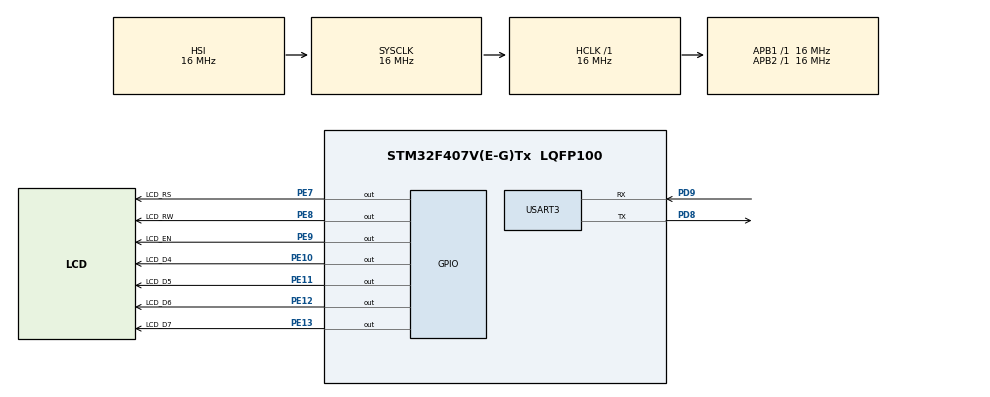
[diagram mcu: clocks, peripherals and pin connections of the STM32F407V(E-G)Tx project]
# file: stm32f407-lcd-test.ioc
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Mcu.Family=STM32F4
Mcu.Name=STM32F407V(E-G)Tx
Mcu.Package=LQFP100
NVIC.PriorityGroup=NVIC_PRIORITYGROUP_4
PA13.Mode=Serial_Wire
PA13.Signal=SYS_JTMS-SWDIO
PA14.Mode=Serial_Wire
PA14.Signal=SYS_JTCK-SWCLK
PD8.Mode=Asynchronous
PD8.Signal=USART3_TX
PD9.Mode=Asynchronous
PD9.Signal=USART3_RX
PE10.GPIO_Label=LCD_D4
PE10.Signal=GPIO_Output
PE11.GPIO_Label=LCD_D5
PE11.Signal=GPIO_Output
PE12.GPIO_Label=LCD_D6
PE12.Signal=GPIO_Output
PE13.GPIO_Label=LCD_D7
PE13.Signal=GPIO_Output
PE7.GPIO_Label=LCD_RS
PE7.Signal=GPIO_Output
PE8.GPIO_Label=LCD_RW
PE8.Signal=GPIO_Output
PE9.GPIO_Label=LCD_EN
PE9.Signal=GPIO_Output
ProjectManager.HeapSize=0x200
ProjectManager.StackSize=0x400
ProjectManager.TargetToolchain=STM32CubeIDE
RCC.AHBFreq_Value=16000000
RCC.APB1Freq_Value=16000000
RCC.APB2Freq_Value=16000000
RCC.CortexFreq_Value=16000000
RCC.HSE_VALUE=25000000
RCC.HSI_VALUE=16000000
RCC.LSE_VALUE=32768
RCC.SYSCLKFreq_VALUE=16000000
RCC.VCOOutputFreq_Value=192000000
USART3.VirtualMode=VM_ASYNC
board=custom

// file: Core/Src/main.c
/* USER CODE BEGIN Header */
/**
  ******************************************************************************
  * @file           : main.c
  * @brief          : SIM800C DTMF diagnostic with interrupt RX
  ******************************************************************************
  */
/* USER CODE END Header */

#include "main.h"

/* USER CODE BEGIN Includes */
#include "lcd.h"
#include "sim800_voice_data.h"
#include <string.h>
#include <stdio.h>
/* USER CODE END Includes */

UART_HandleTypeDef huart3;

/* USER CODE BEGIN PV */

static uint8_t rxByteIT;

static volatile uint16_t rxIndex = 0U;
static volatile uint32_t oreCount = 0U;

static char rxBuffer[512];
static char lcdLine2[17];

/* VOICE_UPLOAD_PATCH_V1 */
static uint32_t voiceOffset = 0U;
static uint32_t voiceChunkSize = 0U;
static char fsCommand[96];

static uint8_t state = 0U;

static uint32_t commandTime = 0U;

/* USER CODE END PV */

void SystemClock_Config(void);
static void MX_GPIO_Init(void);
static void MX_USART3_UART_Init(void);

/* USER CODE BEGIN PFP */

static void LCD_Show(const char *line1, const char *line2);
static void RX_ResetBuffer(void);
static uint16_t RX_GetSnapshot(char *dest, uint16_t size);
static uint8_t Voice_StartNextWrite(void);

/* USER CODE END PFP */

/* USER CODE BEGIN 0 */

static void LCD_Show(const char *line1, const char *line2)
{
    LCD_Clear();

    LCD_SetCursor(0, 0);
    LCD_Print((char *)line1);

    LCD_SetCursor(0, 1);
    LCD_Print((char *)line2);
}

static void RX_ResetBuffer(void)
{
    __disable_irq();

    rxIndex = 0U;
    memset(rxBuffer, 0, sizeof(rxBuffer));

    __enable_irq();
}

static uint16_t RX_GetSnapshot(char *dest, uint16_t size)
{
    uint16_t count;

    __disable_irq();

    count = rxIndex;

    if (count >= size)
    {
        count = size - 1U;
    }

    memcpy(dest, rxBuffer, count);
    dest[count] = '\0';

    __enable_irq();

    return count;
}

static uint8_t Voice_StartNextWrite(void)
{
    uint32_t remaining;
    uint8_t mode;
    int commandLength;

    if (voiceOffset >= SIM800_VOICE_DATA_LEN)
    {
        return 0U;
    }

    remaining =
        SIM800_VOICE_DATA_LEN - voiceOffset;

    if (remaining > 10240U)
    {
        voiceChunkSize = 10240U;
    }
    else
    {
        voiceChunkSize = remaining;
    }

    /*
     * First chunk: write from beginning.
     * Following chunks: append to end.
     */
    mode = (voiceOffset == 0U) ? 0U : 1U;

    commandLength = snprintf(
        fsCommand,
        sizeof(fsCommand),
        "AT+FSWRITE=C:\\voice.wav,%u,%lu,10\r",
        (unsigned int)mode,
        (unsigned long)voiceChunkSize
    );

    if ((commandLength <= 0) ||
        ((uint32_t)commandLength >= sizeof(fsCommand)))
    {
        return 0U;
    }

    snprintf(
        lcdLine2,
        sizeof(lcdLine2),
        "%lu/%lu",
        (unsigned long)voiceOffset,
        (unsigned long)SIM800_VOICE_DATA_LEN
    );

    LCD_Show(
        "WRITE VOICE",
        lcdLine2
    );

    RX_ResetBuffer();

    if (HAL_UART_Transmit(
            &huart3,
            (uint8_t *)fsCommand,
            (uint16_t)commandLength,
            1000U
        ) != HAL_OK)
    {
        return 0U;
    }

    commandTime = HAL_GetTick();
    state = 22U;

    return 1U;
}

void HAL_UART_RxCpltCallback(UART_HandleTypeDef *huart)
{
    if (huart->Instance == USART3)
    {
        if (rxIndex < (sizeof(rxBuffer) - 1U))
        {
            rxBuffer[rxIndex] = (char)rxByteIT;
            rxIndex++;

            rxBuffer[rxIndex] = '\0';
        }

        HAL_UART_Receive_IT(
            &huart3,
            &rxByteIT,
            1U
        );
    }
}

void HAL_UART_ErrorCallback(UART_HandleTypeDef *huart)
{
    if (huart->Instance == USART3)
    {
        if (__HAL_UART_GET_FLAG(
                &huart3,
                UART_FLAG_ORE
            ) != RESET)
        {
            oreCount++;

            __HAL_UART_CLEAR_OREFLAG(
                &huart3
            );
        }

        HAL_UART_Receive_IT(
            &huart3,
            &rxByteIT,
            1U
        );
    }
}

__weak void USART3_IRQHandler(void)
{
    HAL_UART_IRQHandler(&huart3);
}

/* USER CODE END 0 */

int main(void)
{
    char snapshot[512];
    char *position;

    int callId;
    int direction;
    int callStatus;
    int mode;
    int multiparty;

    char dtmfKey;
    char driveLetter;

    char smsStorage[8];
    int smsIndex;
    char smsCommand[32];

    uint8_t smsPending = 0U;
    int pendingSmsIndex = -1;

    char memDrive;
    unsigned long freeBytes;

    HAL_Init();

    SystemClock_Config();

    MX_GPIO_Init();
    MX_USART3_UART_Init();

    /* USER CODE BEGIN 2 */

    LCD_Init();

    HAL_NVIC_SetPriority(
        USART3_IRQn,
        0,
        0
    );

    HAL_NVIC_EnableIRQ(
        USART3_IRQn
    );

    if (HAL_UART_Receive_IT(
            &huart3,
            &rxByteIT,
            1U
        ) != HAL_OK)
    {
        LCD_Show(
            "RX IRQ ERROR",
            "START FAILED"
        );

        while (1)
        {
        }
    }

    LCD_Show(
        "DTMF TEST",
        "WAIT 3 SEC"
    );

    HAL_Delay(3000U);

    /*
     * Disable echo.
     */
    RX_ResetBuffer();

    HAL_UART_Transmit(
        &huart3,
        (uint8_t *)"ATE0\r",
        5U,
        1000U
    );

    HAL_Delay(1000U);

    /*
     * Test CMEDPLAY support.
     */
    RX_ResetBuffer();

    LCD_Show(
        "CMEDPLAY TEST",
        "SENDING..."
    );

    if (HAL_UART_Transmit(
            &huart3,
            (uint8_t *)"AT+CMEDPLAY=?\r",
            sizeof("AT+CMEDPLAY=?\r") - 1U,
            1000U
        ) != HAL_OK)
    {
        LCD_Show(
            "CMEDPLAY",
            "TX ERROR"
        );

        while (1)
        {
        }
    }

    commandTime = HAL_GetTick();
    state = 0U;

    /* USER CODE END 2 */

    while (1)
    {
        /* USER CODE BEGIN WHILE */

        RX_GetSnapshot(
            snapshot,
            sizeof(snapshot)
        );

        /*
         * Global SMS URC capture.
         *
         * The SMS event is captured independently of the
         * current call/playback state. Reading is deferred
         * until the AT command channel is safe to use.
         */
        if (smsPending == 0U)
        {
            char *smsPosition;

            smsPosition = strstr(
                snapshot,
                "+CMTI:"
            );

            if (smsPosition != NULL)
            {
                int detectedIndex = -1;

                memset(
                    smsStorage,
                    0,
                    sizeof(smsStorage)
                );

                if (sscanf(
                        smsPosition,
                        "+CMTI: \"%7[^\"]\",%d",
                        smsStorage,
                        &detectedIndex
                    ) == 2)
                {
                    pendingSmsIndex = detectedIndex;
                    smsPending = 1U;

                    if (state == 32U)
                    {
                        LCD_Show(
                            "SMS QUEUED",
                            "VOICE PLAYING"
                        );
                    }
                }
            }
        }

        /*
         * If the call is active and no modem command is
         * currently in progress, process a queued SMS.
         */
        if ((smsPending != 0U) &&
            (state == 4U))
        {
            smsIndex = pendingSmsIndex;
            smsPending = 0U;
            pendingSmsIndex = -1;

            RX_ResetBuffer();

            LCD_Show(
                "SMS RECEIVED",
                "READING..."
            );

            if (HAL_UART_Transmit(
                    &huart3,
                    (uint8_t *)"AT+CMGF=1\r",
                    sizeof("AT+CMGF=1\r") - 1U,
                    1000U
                ) != HAL_OK)
            {
                LCD_Show(
                    "CMGF",
                    "TX ERROR"
                );

                state = 99U;
            }
            else
            {
                commandTime = HAL_GetTick();
                state = 35U;
            }

            HAL_Delay(10U);
            continue;
        }

        /*
         * State 0:
         * Wait for DDET response.
         */
        if (state == 0U)
        {
        	if (strstr(snapshot, "OK") != NULL)
        	{
        	    RX_ResetBuffer();

        	    LCD_Show(
        	        "GET LOCAL DRIVE",
        	        "FSDRIVE..."
        	    );

        	    if (HAL_UART_Transmit(
        	            &huart3,
        	            (uint8_t *)"AT+FSDRIVE=0\r",
        	            sizeof("AT+FSDRIVE=0\r") - 1U,
        	            1000U
        	        ) != HAL_OK)
        	    {
        	        LCD_Show(
        	            "FSDRIVE",
        	            "TX ERROR"
        	        );

        	        state = 99U;
        	    }
        	    else
        	    {
        	        commandTime = HAL_GetTick();
        	        state = 10U;
        	    }
        	}
            else if (strstr(snapshot, "ERROR") != NULL)
            {
                LCD_Show(
                    "CMEDPLAY",
                    "UNSUPPORTED"
                );

                state = 99U;
            }

            else if ((HAL_GetTick() - commandTime) >= 3000U)
            {
                LCD_Show(
                    "CMEDPLAY",
                    "TIMEOUT"
                );

                state = 99U;
            }
        }

        else if (state == 10U)
        {
            position = strstr(
                snapshot,
                "+FSDRIVE:"
            );

            if (position != NULL)
            {
                driveLetter = '\0';

                if (sscanf(
                        position,
                        "+FSDRIVE: %c",
                        &driveLetter
                    ) == 1)
                {
                    snprintf(
                        lcdLine2,
                        sizeof(lcdLine2),
                        "DRIVE: %c",
                        driveLetter
                    );

                    LCD_Show(
                        "LOCAL STORAGE",
                        lcdLine2
                    );

                    HAL_Delay(1000U);

                    RX_ResetBuffer();

                    LCD_Show(
                        "CHECK MEMORY",
                        "FSMEM..."
                    );

                    if (HAL_UART_Transmit(
                            &huart3,
                            (uint8_t *)"AT+FSMEM\r",
                            sizeof("AT+FSMEM\r") - 1U,
                            1000U
                        ) != HAL_OK)
                    {
                        LCD_Show(
                            "FSMEM",
                            "TX ERROR"
                        );

                        state = 99U;
                    }
                    else
                    {
                        commandTime = HAL_GetTick();
                        state = 11U;
                    }
                }
            }
            else if (strstr(snapshot, "ERROR") != NULL)
            {
                LCD_Show(
                    "FSDRIVE",
                    "ERROR"
                );

                state = 99U;
            }
            else if ((HAL_GetTick() - commandTime) >= 3000U)
            {
                LCD_Show(
                    "FSDRIVE",
                    "TIMEOUT"
                );

                state = 99U;
            }
        }

        else if (state == 11U)
        {
            position = strstr(
                snapshot,
                "+FSMEM:"
            );

            if (position != NULL)
            {
                memDrive = '\0';
                freeBytes = 0UL;

                if (sscanf(
                        position,
                        "+FSMEM: %c:%lubytes",
                        &memDrive,
                        &freeBytes
                    ) == 2)
                {
                    snprintf(
                        lcdLine2,
                        sizeof(lcdLine2),
                        "%lu bytes",
                        freeBytes
                    );

                    LCD_Show(
                        "FREE MEMORY",
                        lcdLine2
                    );

                    HAL_Delay(1000U);

                    RX_ResetBuffer();

                    LCD_Show(
                        "LIST FILES",
                        "FSLS..."
                    );

                    if (HAL_UART_Transmit(
                            &huart3,
                            (uint8_t *)"AT+FSLS=C:\\\r",
                            sizeof("AT+FSLS=C:\\\r") - 1U,
                            1000U
                        ) != HAL_OK)
                    {
                        LCD_Show(
                            "FSLS",
                            "TX ERROR"
                        );

                        state = 99U;
                    }
                    else
                    {
                        commandTime = HAL_GetTick();
                        state = 13U;
                    }
                }
            }
            else if (strstr(snapshot, "ERROR") != NULL)
            {
                LCD_Show(
                    "FSMEM",
                    "ERROR"
                );

                state = 99U;
            }
            else if ((HAL_GetTick() - commandTime) >= 3000U)
            {
                LCD_Show(
                    "FSMEM",
                    "TIMEOUT"
                );

                state = 99U;
            }
        }

        else if (state == 13U)
        {
            if (strstr(snapshot, "test.wav") != NULL)
            {
                RX_ResetBuffer();

                LCD_Show(
                    "WRITE TEST",
                    "WAIT PROMPT"
                );

                if (HAL_UART_Transmit(
                        &huart3,
                        (uint8_t *)"AT+FSWRITE=C:\\test.wav,0,5,10\r",
                        sizeof("AT+FSWRITE=C:\\test.wav,0,5,10\r") - 1U,
                        1000U
                    ) != HAL_OK)
                {
                    LCD_Show(
                        "FSWRITE",
                        "TX ERROR"
                    );

                    state = 99U;
                }
                else
                {
                    commandTime = HAL_GetTick();
                    state = 14U;
                }
            }
            else if (strstr(snapshot, "ERROR") != NULL)
            {
                LCD_Show(
                    "FSLS",
                    "ERROR"
                );

                state = 99U;
            }
            else if ((HAL_GetTick() - commandTime) >= 3000U)
            {
                LCD_Show(
                    "FILE NOT FOUND",
                    "test.wav"
                );

                state = 99U;
            }
        }

        else if (state == 14U)
        {
            if (strchr(snapshot, '>') != NULL)
            {
                RX_ResetBuffer();

                LCD_Show(
                    "SEND DATA",
                    "HELLO"
                );

                if (HAL_UART_Transmit(
                        &huart3,
                        (uint8_t *)"HELLO",
                        5U,
                        1000U
                    ) != HAL_OK)
                {
                    LCD_Show(
                        "DATA TX",
                        "ERROR"
                    );

                    state = 99U;
                }
                else
                {
                    commandTime = HAL_GetTick();
                    state = 15U;
                }
            }
            else if (strstr(snapshot, "ERROR") != NULL)
            {
                LCD_Show(
                    "FSWRITE",
                    "ERROR"
                );

                state = 99U;
            }
            else if ((HAL_GetTick() - commandTime) >= 3000U)
            {
                LCD_Show(
                    "FSWRITE",
                    "NO PROMPT"
                );

                state = 99U;
            }
        }

        else if (state == 15U)
        {
            if (strstr(snapshot, "OK") != NULL)
            {
                LCD_Show(
                    "WRITE OK",
                    "5 BYTES SAVED"
                );

                HAL_Delay(1000U);

                RX_ResetBuffer();

                LCD_Show(
                    "CHECK FILE SIZE",
                    "FSFLSIZE..."
                );

                if (HAL_UART_Transmit(
                        &huart3,
                        (uint8_t *)"AT+FSFLSIZE=C:\\test.wav\r",
                        sizeof("AT+FSFLSIZE=C:\\test.wav\r") - 1U,
                        1000U
                    ) != HAL_OK)
                {
                    LCD_Show(
                        "FSFLSIZE",
                        "TX ERROR"
                    );

                    state = 99U;
                }
                else
                {
                    commandTime = HAL_GetTick();
                    state = 16U;
                }
            }
            else if (strstr(snapshot, "ERROR") != NULL)
            {
                LCD_Show(
                    "WRITE",
                    "ERROR"
                );

                state = 99U;
            }
            else if ((HAL_GetTick() - commandTime) >= 12000U)
            {
                LCD_Show(
                    "WRITE",
                    "TIMEOUT"
                );

                state = 99U;
            }
        }

        else if (state == 16U)
        {
            position = strstr(
                snapshot,
                "+FSFLSIZE:"
            );

            if (position != NULL)
            {
                unsigned long fileSize = 0UL;

                if (sscanf(
                        position,
                        "+FSFLSIZE: %lu",
                        &fileSize
                    ) == 1)
                {
                    snprintf(
                        lcdLine2,
                        sizeof(lcdLine2),
                        "%lu bytes",
                        fileSize
                    );

                    LCD_Show(
                        "FILE SIZE",
                        lcdLine2
                    );

                    RX_ResetBuffer();

                    LCD_Show(
                        "VOICE UPLOAD",
                        "DELETE OLD..."
                    );

                    if (HAL_UART_Transmit(
                            &huart3,
                            (uint8_t *)"AT+FSDEL=C:\\voice.wav\r",
                            sizeof("AT+FSDEL=C:\\voice.wav\r") - 1U,
                            1000U
                        ) != HAL_OK)
                    {
                        LCD_Show(
                            "VOICE DELETE",
                            "TX ERROR"
                        );

                        state = 99U;
                    }
                    else
                    {
                        commandTime = HAL_GetTick();
                        state = 20U;
                    }
                }
            }
            else if (strstr(snapshot, "ERROR") != NULL)
            {
                LCD_Show(
                    "FSFLSIZE",
                    "ERROR"
                );

                state = 99U;
            }
            else if ((HAL_GetTick() - commandTime) >= 3000U)
            {
                LCD_Show(
                    "FSFLSIZE",
                    "TIMEOUT"
                );

                state = 99U;
            }
        }

        /*
         * State 20:
         * Delete old voice.wav.
         *
         * ERROR is allowed here because the file may not
         * exist yet.
         */
        else if (state == 20U)
        {
            if ((strstr(snapshot, "OK") != NULL) ||
                (strstr(snapshot, "ERROR") != NULL))
            {
                RX_ResetBuffer();

                LCD_Show(
                    "VOICE UPLOAD",
                    "CREATE FILE"
                );

                if (HAL_UART_Transmit(
                        &huart3,
                        (uint8_t *)"AT+FSCREATE=C:\\voice.wav\r",
                        sizeof("AT+FSCREATE=C:\\voice.wav\r") - 1U,
                        1000U
                    ) != HAL_OK)
                {
                    LCD_Show(
                        "VOICE CREATE",
                        "TX ERROR"
                    );

                    state = 99U;
                }
                else
                {
                    commandTime = HAL_GetTick();
                    state = 21U;
                }
            }
            else if ((HAL_GetTick() - commandTime) >= 3000U)
            {
                /*
                 * If delete gives no response, try create anyway.
                 */
                RX_ResetBuffer();

                if (HAL_UART_Transmit(
                        &huart3,
                        (uint8_t *)"AT+FSCREATE=C:\\voice.wav\r",
                        sizeof("AT+FSCREATE=C:\\voice.wav\r") - 1U,
                        1000U
                    ) != HAL_OK)
                {
                    LCD_Show(
                        "VOICE CREATE",
                        "TX ERROR"
                    );

                    state = 99U;
                }
                else
                {
                    commandTime = HAL_GetTick();
                    state = 21U;
                }
            }
        }

        /*
         * State 21:
         * Wait until voice.wav is created.
         */
        else if (state == 21U)
        {
            if (strstr(snapshot, "OK") != NULL)
            {
                voiceOffset = 0U;

                if (Voice_StartNextWrite() == 0U)
                {
                    LCD_Show(
                        "VOICE WRITE",
                        "START ERROR"
                    );

                    state = 99U;
                }
            }
            else if (strstr(snapshot, "ERROR") != NULL)
            {
                LCD_Show(
                    "VOICE CREATE",
                    "ERROR"
                );

                state = 99U;
            }
            else if ((HAL_GetTick() - commandTime) >= 3000U)
            {
                LCD_Show(
                    "VOICE CREATE",
                    "TIMEOUT"
                );

                state = 99U;
            }
        }

        /*
         * State 22:
         * Wait for FSWRITE '>' prompt.
         */
        else if (state == 22U)
        {
            if (strchr(snapshot, '>') != NULL)
            {
                RX_ResetBuffer();

                if (HAL_UART_Transmit(
                        &huart3,
                        (uint8_t *)&sim800_voice_data[voiceOffset],
                        (uint16_t)voiceChunkSize,
                        15000U
                    ) != HAL_OK)
                {
                    LCD_Show(
                        "VOICE DATA",
                        "TX ERROR"
                    );

                    state = 99U;
                }
                else
                {
                    commandTime = HAL_GetTick();
                    state = 23U;
                }
            }
            else if (strstr(snapshot, "ERROR") != NULL)
            {
                LCD_Show(
                    "FSWRITE",
                    "ERROR"
                );

                state = 99U;
            }
            else if ((HAL_GetTick() - commandTime) >= 3000U)
            {
                LCD_Show(
                    "FSWRITE",
                    "NO PROMPT"
                );

                state = 99U;
            }
        }

        /*
         * State 23:
         * Wait for one binary chunk to be committed.
         */
        else if (state == 23U)
        {
            if (strstr(snapshot, "OK") != NULL)
            {
                voiceOffset += voiceChunkSize;

                if (voiceOffset < SIM800_VOICE_DATA_LEN)
                {
                    if (Voice_StartNextWrite() == 0U)
                    {
                        LCD_Show(
                            "VOICE WRITE",
                            "NEXT ERROR"
                        );

                        state = 99U;
                    }
                }
                else
                {
                    RX_ResetBuffer();

                    LCD_Show(
                        "VERIFY VOICE",
                        "FSFLSIZE..."
                    );

                    if (HAL_UART_Transmit(
                            &huart3,
                            (uint8_t *)"AT+FSFLSIZE=C:\\voice.wav\r",
                            sizeof("AT+FSFLSIZE=C:\\voice.wav\r") - 1U,
                            1000U
                        ) != HAL_OK)
                    {
                        LCD_Show(
                            "VOICE SIZE",
                            "TX ERROR"
                        );

                        state = 99U;
                    }
                    else
                    {
                        commandTime = HAL_GetTick();
                        state = 24U;
                    }
                }
            }
            else if (strstr(snapshot, "ERROR") != NULL)
            {
                LCD_Show(
                    "VOICE WRITE",
                    "ERROR"
                );

                state = 99U;
            }
            else if ((HAL_GetTick() - commandTime) >= 12000U)
            {
                LCD_Show(
                    "VOICE WRITE",
                    "TIMEOUT"
                );

                state = 99U;
            }
        }

        /*
         * State 24:
         * Verify uploaded binary file size.
         */
        else if (state == 24U)
        {
            position = strstr(
                snapshot,
                "+FSFLSIZE:"
            );

            if (position != NULL)
            {
                unsigned long fileSize = 0UL;

                if (sscanf(
                        position,
                        "+FSFLSIZE: %lu",
                        &fileSize
                    ) == 1)
                {
                    snprintf(
                        lcdLine2,
                        sizeof(lcdLine2),
                        "%lu bytes",
                        fileSize
                    );

                    if (fileSize ==
                        (unsigned long)SIM800_VOICE_DATA_LEN)
                    {
                        LCD_Show(
                            "SMS URC SETUP",
                            "CNMI..."
                        );

                        RX_ResetBuffer();

                        if (HAL_UART_Transmit(
                                &huart3,
                                (uint8_t *)"AT+CNMI=2,1,0,0,0\r",
                                sizeof("AT+CNMI=2,1,0,0,0\r") - 1U,
                                1000U
                            ) != HAL_OK)
                        {
                            LCD_Show(
                                "CNMI",
                                "TX ERROR"
                            );

                            state = 99U;
                        }
                        else
                        {
                            commandTime = HAL_GetTick();
                            state = 34U;
                        }
                    }
                    else
                    {
                        LCD_Show(
                            "SIZE MISMATCH",
                            lcdLine2
                        );
                    }

                }
            }
            else if (strstr(snapshot, "ERROR") != NULL)
            {
                LCD_Show(
                    "VOICE SIZE",
                    "ERROR"
                );

                state = 99U;
            }
            else if ((HAL_GetTick() - commandTime) >= 3000U)
            {
                LCD_Show(
                    "VOICE SIZE",
                    "TIMEOUT"
                );

                state = 99U;
            }
        }

        else if (state == 12U)
        {
            if (strstr(snapshot, "OK") != NULL)
            {
                LCD_Show(
                    "FILE CREATED",
                    "C:\\test.wav"
                );

                state = 99U;
            }
            else if (strstr(snapshot, "ERROR") != NULL)
            {
                LCD_Show(
                    "FSCREATE",
                    "ERROR"
                );

                state = 99U;
            }
            else if ((HAL_GetTick() - commandTime) >= 3000U)
            {
                LCD_Show(
                    "FSCREATE",
                    "TIMEOUT"
                );

                state = 99U;
            }
        }
        /*
         * State 34:
         * Enable SMS new-message URCs.
         */
        else if (state == 34U)
        {
            if (strstr(snapshot, "OK") != NULL)
            {
                RX_ResetBuffer();

                LCD_Show(
                    "SMS URC READY",
                    "WAITING CALL"
                );

                state = 1U;
            }
            else if (strstr(snapshot, "ERROR") != NULL)
            {
                LCD_Show(
                    "CNMI",
                    "ERROR"
                );

                state = 99U;
            }
            else if ((HAL_GetTick() - commandTime) >= 3000U)
            {
                LCD_Show(
                    "CNMI",
                    "TIMEOUT"
                );

                state = 99U;
            }
        }

        /*
                * State 1:
                * Wait for RING.
                */
        else if (state == 1U)
        {
            if (strstr(snapshot, "RING") != NULL)
            {
                RX_ResetBuffer();

                LCD_Show(
                    "RING DETECTED",
                    "SENDING ATA"
                );

                if (HAL_UART_Transmit(
                        &huart3,
                        (uint8_t *)"ATA\r",
                        4U,
                        1000U
                    ) != HAL_OK)
                {
                    LCD_Show(
                        "ATA TX ERROR",
                        "UART FAILED"
                    );

                    state = 99U;
                }
                else
                {
                    commandTime = HAL_GetTick();
                    state = 2U;

                    LCD_Show(
                        "ATA SENT",
                        "WAIT 2 SEC"
                    );
                }
            }
        }

        /*
         * State 2:
         * Wait 2 seconds after ATA, then query CLCC.
         */
        else if (state == 2U)
        {
            if ((HAL_GetTick() - commandTime) >= 2000U)
            {
                RX_ResetBuffer();

                if (HAL_UART_Transmit(
                        &huart3,
                        (uint8_t *)"AT+CLCC\r",
                        8U,
                        1000U
                    ) != HAL_OK)
                {
                    LCD_Show(
                        "CLCC TX ERROR",
                        "UART FAILED"
                    );

                    state = 99U;
                }
                else
                {
                    commandTime = HAL_GetTick();
                    state = 3U;

                    LCD_Show(
                        "CLCC SENT",
                        "WAIT ACTIVE"
                    );
                }
            }
        }

        /*
         * State 3:
         * Confirm active call.
         */
        else if (state == 3U)
        {
            position = strstr(
                snapshot,
                "+CLCC:"
            );

            if (position != NULL)
            {
                if (sscanf(
                        position,
                        "+CLCC: %d,%d,%d,%d,%d",
                        &callId,
                        &direction,
                        &callStatus,
                        &mode,
                        &multiparty
                    ) >= 5)
                {
                    if (callStatus == 0)
                    {
                        RX_ResetBuffer();

                        /* DTMF_PLAYBACK_PATCH_V1 */

                        LCD_Show(
                            "CALL ACTIVE",
                            "ENABLE DTMF"
                        );

                        RX_ResetBuffer();

                        if (HAL_UART_Transmit(
                                &huart3,
                                (uint8_t *)"AT+DDET=1,0,0\r",
                                sizeof("AT+DDET=1,0,0\r") - 1U,
                                1000U
                            ) != HAL_OK)
                        {
                            LCD_Show(
                                "DDET",
                                "TX ERROR"
                            );

                            state = 99U;
                        }
                        else
                        {
                            commandTime = HAL_GetTick();
                            state = 33U;
                        }
                    }
                    else
                    {
                        snprintf(
                            lcdLine2,
                            sizeof(lcdLine2),
                            "STATE:%d",
                            callStatus
                        );

                        LCD_Show(
                            "CALL NOT ACTIVE",
                            lcdLine2
                        );
                    }
                }
            }
            else if ((HAL_GetTick() - commandTime) >= 3000U)
            {
                LCD_Show(
                    "CLCC TIMEOUT",
                    "NO CALL DATA"
                );

                state = 99U;
            }
        }

        /*
         * State 4:
         * Wait for +DTMF URC.
         */

        /*
         * State 33:
         * Wait for DTMF detector enable confirmation.
         */
        else if (state == 33U)
        {
            if (strstr(snapshot, "OK") != NULL)
            {
                RX_ResetBuffer();

                LCD_Show(
                    "WAIT DTMF",
                    "PRESS 1"
                );

                state = 4U;
            }
            else if (strstr(snapshot, "ERROR") != NULL)
            {
                LCD_Show(
                    "DDET",
                    "ERROR"
                );

                state = 99U;
            }
            else if ((HAL_GetTick() - commandTime) >= 3000U)
            {
                LCD_Show(
                    "DDET",
                    "TIMEOUT"
                );

                state = 99U;
            }
        }

        /*
         * State 35:
         * Enable SMS text mode, then read the message.
         */
        else if (state == 35U)
        {
            if (strstr(snapshot, "OK") != NULL)
            {
                int commandLength;

                RX_ResetBuffer();

                commandLength = snprintf(
                    smsCommand,
                    sizeof(smsCommand),
                    "AT+CMGR=%d\r",
                    smsIndex
                );

                LCD_Show(
                    "READ SMS",
                    "CMGR..."
                );

                if ((commandLength <= 0) ||
                    (HAL_UART_Transmit(
                        &huart3,
                        (uint8_t *)smsCommand,
                        (uint16_t)commandLength,
                        1000U
                    ) != HAL_OK))
                {
                    LCD_Show(
                        "CMGR",
                        "TX ERROR"
                    );

                    state = 99U;
                }
                else
                {
                    commandTime = HAL_GetTick();
                    state = 36U;
                }
            }
            else if (strstr(snapshot, "ERROR") != NULL)
            {
                LCD_Show(
                    "CMGF",
                    "ERROR"
                );

                state = 99U;
            }
            else if ((HAL_GetTick() - commandTime) >= 3000U)
            {
                LCD_Show(
                    "CMGF",
                    "TIMEOUT"
                );

                state = 99U;
            }
        }

        /*
         * State 36:
         * Wait for SMS contents from AT+CMGR.
         */
        else if (state == 36U)
        {
            position = strstr(
                snapshot,
                "+CMGR:"
            );

            if (position != NULL)
            {
                char *body;
                char *end;
                char smsText[17];

                body = strstr(position, "\r\n");

                if (body != NULL)
                {
                    body += 2;

                    end = strstr(body, "\r\n");

                    if (end != NULL)
                    {
                        size_t length =
                            (size_t)(end - body);

                        if (length > 16U)
                        {
                            length = 16U;
                        }

                        memset(
                            smsText,
                            0,
                            sizeof(smsText)
                        );

                        memcpy(
                            smsText,
                            body,
                            length
                        );

                        LCD_Show(
                            "SMS READ",
                            smsText
                        );

                        RX_ResetBuffer();

                        state = 4U;
                    }
                }
            }

            if (strstr(snapshot, "NO CARRIER") != NULL)
            {
                RX_ResetBuffer();

                LCD_Show(
                    "CALL ENDED",
                    "WAITING CALL"
                );

                state = 1U;
            }
            else if (strstr(snapshot, "ERROR") != NULL)
            {
                LCD_Show(
                    "CMGR",
                    "ERROR"
                );

                state = 99U;
            }
            else if ((HAL_GetTick() - commandTime) >= 5000U)
            {
                LCD_Show(
                    "CMGR",
                    "TIMEOUT"
                );

                state = 99U;
            }
        }

        /*
         * State 30:
         * Wait for DTAM=1 confirmation.
         */
        else if (state == 30U)
        {
            if (strstr(snapshot, "OK") != NULL)
            {
                RX_ResetBuffer();

                LCD_Show(
                    "PLAY VOICE",
                    "CMEDPLAY..."
                );

                if (HAL_UART_Transmit(
                        &huart3,
                        (uint8_t *)"AT+CMEDPLAY=1,C:\\voice.wav,0,100\r",
                        sizeof("AT+CMEDPLAY=1,C:\\voice.wav,0,100\r") - 1U,
                        1000U
                    ) != HAL_OK)
                {
                    LCD_Show(
                        "CMEDPLAY",
                        "TX ERROR"
                    );

                    state = 99U;
                }
                else
                {
                    commandTime = HAL_GetTick();
                    state = 31U;
                }
            }
            else if (strstr(snapshot, "ERROR") != NULL)
            {
                LCD_Show(
                    "DTAM",
                    "ERROR"
                );

                state = 99U;
            }
            else if ((HAL_GetTick() - commandTime) >= 3000U)
            {
                LCD_Show(
                    "DTAM",
                    "TIMEOUT"
                );

                state = 99U;
            }
        }

        /*
         * State 31:
         * Wait for playback command response.
         */
        else if (state == 31U)
        {
            if (strstr(snapshot, "OK") != NULL)
            {
                RX_ResetBuffer();

                LCD_Show(
                    "VOICE PLAYING",
                    "REMOTE"
                );

                commandTime = HAL_GetTick();
                state = 32U;
            }
            else if (strstr(snapshot, "+CME ERROR") != NULL ||
                     strstr(snapshot, "ERROR") != NULL)
            {
                LCD_Show(
                    "CMEDPLAY",
                    "ERROR"
                );

                state = 99U;
            }
            else if ((HAL_GetTick() - commandTime) >= 3000U)
            {
                LCD_Show(
                    "CMEDPLAY",
                    "TIMEOUT"
                );

                state = 99U;
            }
        }

        /*
         * State 32:
         * Wait until playback finishes or call ends.
         */
        else if (state == 32U)
        {
            if (strstr(snapshot, "+CMEDPLAY: 0") != NULL)
            {
                LCD_Show(
                    "PLAY FINISHED",
                    "CALL ACTIVE"
                );

                RX_ResetBuffer();
                state = 4U;
            }
            else if (strstr(snapshot, "NO CARRIER") != NULL)
            {
                LCD_Show(
                    "CALL ENDED",
                    "WAITING CALL"
                );

                RX_ResetBuffer();
                state = 1U;
            }
        }

        else if (state == 4U)
        {
            position = strstr(
                snapshot,
                "+DTMF:"
            );

            if (position != NULL)
            {
                dtmfKey = '\0';

                if (sscanf(
                        position,
                        "+DTMF: %c",
                        &dtmfKey
                    ) == 1)
                {
                    RX_ResetBuffer();

                    if (dtmfKey == '1')
                    {
                        LCD_Show(
                            "DTMF 1",
                            "PLAY VOICE"
                        );

                        if (HAL_UART_Transmit(
                                &huart3,
                                (uint8_t *)"AT+DTAM=1\r",
                                sizeof("AT+DTAM=1\r") - 1U,
                                1000U
                            ) != HAL_OK)
                        {
                            LCD_Show(
                                "DTAM",
                                "TX ERROR"
                            );

                            state = 99U;
                        }
                        else
                        {
                            commandTime = HAL_GetTick();
                            state = 30U;
                        }
                    }
                    else
                    {
                        snprintf(
                            lcdLine2,
                            sizeof(lcdLine2),
                            "KEY: %c",
                            dtmfKey
                        );

                        LCD_Show(
                            "DTMF RECEIVED",
                            lcdLine2
                        );
                    }
                }
            }

            if (strstr(snapshot, "NO CARRIER") != NULL)
            {
                RX_ResetBuffer();

                LCD_Show(
                    "CALL ENDED",
                    "WAITING CALL"
                );

                state = 1U;
            }

            if (strstr(snapshot, "RDY") != NULL)
            {
                LCD_Show(
                    "MODEM REBOOT",
                    "RDY RECEIVED"
                );

                state = 99U;
            }
        }

        HAL_Delay(10U);

        /* USER CODE END WHILE */
    }
}

void SystemClock_Config(void)
{
    RCC_OscInitTypeDef RCC_OscInitStruct = {0};
    RCC_ClkInitTypeDef RCC_ClkInitStruct = {0};

    __HAL_RCC_PWR_CLK_ENABLE();

    __HAL_PWR_VOLTAGESCALING_CONFIG(
        PWR_REGULATOR_VOLTAGE_SCALE1
    );

    RCC_OscInitStruct.OscillatorType =
        RCC_OSCILLATORTYPE_HSI;

    RCC_OscInitStruct.HSIState =
        RCC_HSI_ON;

    RCC_OscInitStruct.HSICalibrationValue =
        RCC_HSICALIBRATION_DEFAULT;

    RCC_OscInitStruct.PLL.PLLState =
        RCC_PLL_NONE;

    if (HAL_RCC_OscConfig(
            &RCC_OscInitStruct
        ) != HAL_OK)
    {
        Error_Handler();
    }

    RCC_ClkInitStruct.ClockType =
        RCC_CLOCKTYPE_HCLK |
        RCC_CLOCKTYPE_SYSCLK |
        RCC_CLOCKTYPE_PCLK1 |
        RCC_CLOCKTYPE_PCLK2;

    RCC_ClkInitStruct.SYSCLKSource =
        RCC_SYSCLKSOURCE_HSI;

    RCC_ClkInitStruct.AHBCLKDivider =
        RCC_SYSCLK_DIV1;

    RCC_ClkInitStruct.APB1CLKDivider =
        RCC_HCLK_DIV1;

    RCC_ClkInitStruct.APB2CLKDivider =
        RCC_HCLK_DIV1;

    if (HAL_RCC_ClockConfig(
            &RCC_ClkInitStruct,
            FLASH_LATENCY_0
        ) != HAL_OK)
    {
        Error_Handler();
    }
}

static void MX_USART3_UART_Init(void)
{
    huart3.Instance = USART3;

    huart3.Init.BaudRate = 115200;
    huart3.Init.WordLength = UART_WORDLENGTH_8B;
    huart3.Init.StopBits = UART_STOPBITS_1;
    huart3.Init.Parity = UART_PARITY_NONE;

    huart3.Init.Mode =
        UART_MODE_TX_RX;

    huart3.Init.HwFlowCtl =
        UART_HWCONTROL_NONE;

    huart3.Init.OverSampling =
        UART_OVERSAMPLING_16;

    if (HAL_UART_Init(&huart3) != HAL_OK)
    {
        Error_Handler();
    }
}

static void MX_GPIO_Init(void)
{
    GPIO_InitTypeDef GPIO_InitStruct = {0};

    __HAL_RCC_GPIOE_CLK_ENABLE();
    __HAL_RCC_GPIOD_CLK_ENABLE();
    __HAL_RCC_GPIOA_CLK_ENABLE();

    HAL_GPIO_WritePin(
        GPIOE,
        LCD_RS_Pin |
        LCD_RW_Pin |
        LCD_EN_Pin |
        LCD_D4_Pin |
        LCD_D5_Pin |
        LCD_D6_Pin |
        LCD_D7_Pin,
        GPIO_PIN_RESET
    );

    GPIO_InitStruct.Pin =
        LCD_RS_Pin |
        LCD_RW_Pin |
        LCD_EN_Pin |
        LCD_D4_Pin |
        LCD_D5_Pin |
        LCD_D6_Pin |
        LCD_D7_Pin;

    GPIO_InitStruct.Mode =
        GPIO_MODE_OUTPUT_PP;

    GPIO_InitStruct.Pull =
        GPIO_NOPULL;

    GPIO_InitStruct.Speed =
        GPIO_SPEED_FREQ_LOW;

    HAL_GPIO_Init(
        GPIOE,
        &GPIO_InitStruct
    );
}

void Error_Handler(void)
{
    __disable_irq();

    while (1)
    {
    }
}
